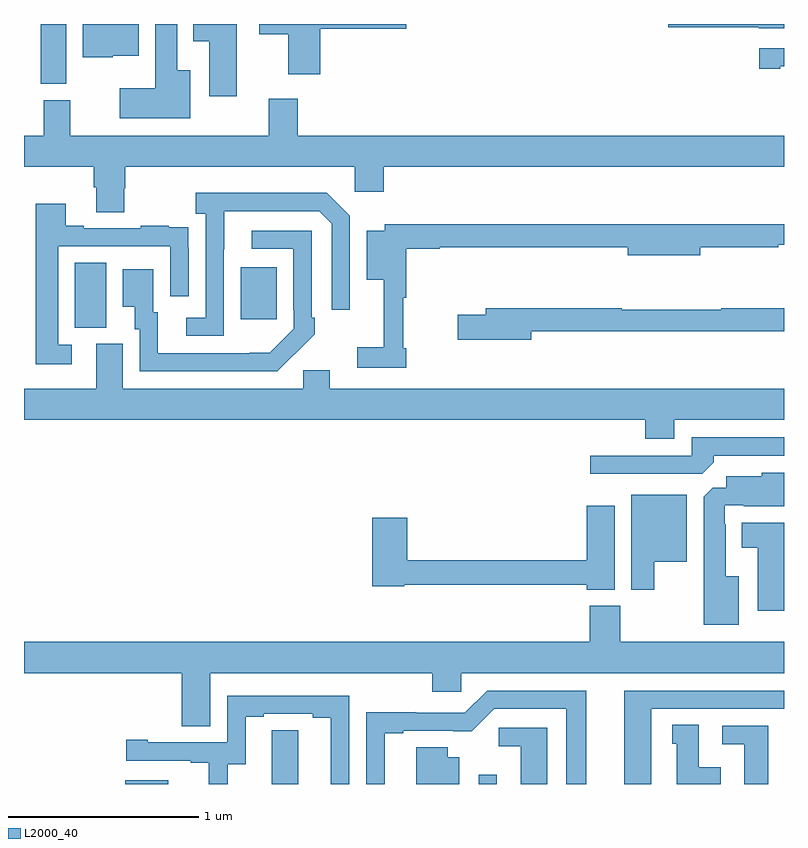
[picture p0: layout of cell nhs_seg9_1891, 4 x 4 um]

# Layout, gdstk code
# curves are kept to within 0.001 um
import gdstk
lib = gdstk.Library(unit=1e-6, precision=1e-09)
def R(c, l, rs):  # rectangles x0, y0, x1, y1
    for r in rs: c.add(gdstk.rectangle(r[:2], r[2:], *l))
def P(c, l, *ps):  # polygons
    for p in ps: c.add(gdstk.Polygon(p, *l))
L2000_40 = (2000, 40)

nhs_seg9_1891 = lib.new_cell('nhs_seg9_1891')
R(nhs_seg9_1891, L2000_40, [(217.532,1198.5,217.759,1198.519), (219.393,1198.5,219.489,1198.549), (217.268,1200.901,217.432,1201.244), (218.141,1200.945,218.329,1201.219), (217.088,1202.185,217.222,1202.5)])
P(nhs_seg9_1891, L2000_40, [(218.558,1202.474),(219.013,1202.474),(219.013,1202.5),(218.238,1202.5),(218.238,1202.446),(218.39,1202.446),(218.39,1202.235),(218.558,1202.235)],
  [(218.119,1202.5),(217.892,1202.5),(217.892,1202.408),(217.976,1202.408),(217.976,1202.121),(218.119,1202.121)],
  [(217.876,1202.257),(217.807,1202.257),(217.807,1202.5),(217.691,1202.5),(217.691,1202.161),(217.503,1202.161),(217.503,1202.003),(217.876,1202.003)],
  [(221,1202.5),(220.392,1202.5),(220.392,1202.483),(220.866,1202.483),(220.866,1202.477),(221,1202.477)],
  [(217.467,1202.333),(217.603,1202.333),(217.603,1202.5),(217.31,1202.5),(217.31,1202.324),(217.467,1202.324)],
  [(220.981,1202.277),(221,1202.277),(221,1202.373),(220.869,1202.373),(220.869,1202.265),(220.981,1202.265)],
  [(217.527,1201.635),(217.532,1201.635),(217.532,1201.748),(218.742,1201.748),(218.742,1201.617),(218.894,1201.617),(218.894,1201.748),(221,1201.748),(221,1201.912),(218.441,1201.912),(218.441,1202.107),(218.288,1202.107),(218.288,1201.912),(217.243,1201.912),(217.243,1202.1),(217.103,1202.1),(217.103,1201.912),(217,1201.912),(217,1201.748),(217.367,1201.748),(217.367,1201.642),(217.379,1201.642),(217.379,1201.51),(217.527,1201.51)],
  [(218.052,1201.315),(218.053,1201.515),(218.553,1201.515),(218.619,1201.449),(218.619,1200.996),(218.715,1200.996),(218.715,1201.491),(218.594,1201.612),(217.905,1201.612),(217.905,1201.502),(217.956,1201.502),(217.956,1200.954),(217.854,1200.954),(217.854,1200.858),(218.052,1200.858)],
  [(217.252,1200.813),(217.179,1200.813),(217.179,1201.329),(217.77,1201.329),(217.77,1201.068),(217.866,1201.068),(217.866,1201.322),(217.865,1201.322),(217.865,1201.431),(217.763,1201.431),(217.763,1201.438),(217.615,1201.438),(217.615,1201.425),(217.315,1201.425),(217.315,1201.438),(217.219,1201.438),(217.219,1201.555),(217.063,1201.555),(217.063,1200.708),(217.252,1200.708)],
  [(219.011,1200.793),(218.996,1200.793),(218.996,1201.058),(219.011,1201.058),(219.011,1201.318),(219.188,1201.318),(219.188,1201.326),(220.178,1201.326),(220.178,1201.283),(220.558,1201.283),(220.558,1201.326),(220.97,1201.326),(220.97,1201.338),(221,1201.338),(221,1201.447),(218.898,1201.447),(218.898,1201.411),(218.804,1201.411),(218.804,1201.154),(218.894,1201.154),(218.894,1200.799),(218.754,1200.799),(218.754,1200.69),(219.011,1200.69)],
  [(218.423,1200.763),(218.424,1200.762),(218.529,1200.867),(218.529,1200.955),(218.514,1200.955),(218.514,1201.413),(218.199,1201.413),(218.199,1201.317),(218.418,1201.317),(218.418,1200.997),(218.421,1200.997),(218.421,1200.897),(218.293,1200.769),(217.705,1200.768),(217.705,1200.984),(217.681,1200.984),(217.681,1201.21),(217.52,1201.21),(217.52,1201.013),(217.583,1201.013),(217.583,1200.894),(217.608,1200.894),(217.608,1200.672),(218.332,1200.672)],
  [(219.67,1200.882),(221,1200.882),(221,1201.003),(220.67,1201.003),(220.67,1200.995),(220.147,1200.995),(220.147,1201.003),(219.431,1201.003),(219.431,1200.969),(219.282,1200.969),(219.282,1200.839),(219.67,1200.839)],
  [(220.423,1200.416),(221,1200.416),(221,1200.58),(218.608,1200.58),(218.608,1200.678),(218.469,1200.678),(218.469,1200.58),(217.519,1200.58),(217.519,1200.816),(217.379,1200.816),(217.379,1200.58),(217,1200.58),(217,1200.416),(220.271,1200.416),(220.271,1200.317),(220.423,1200.317)],
  [(220.631,1200.194),(220.631,1200.228),(221,1200.228),(221,1200.324),(220.515,1200.324),(220.515,1200.228),(219.981,1200.228),(219.981,1200.132),(220.569,1200.132)],
  [(220.762,1199.593),(220.693,1199.593),(220.693,1199.867),(220.689,1199.867),(220.689,1199.967),(220.789,1199.967),(220.789,1199.963),(221,1199.963),(221,1200.139),(220.884,1200.139),(220.884,1200.121),(220.697,1200.121),(220.697,1200.06),(220.626,1200.06),(220.577,1200.011),(220.577,1199.339),(220.762,1199.339)],
  [(220.318,1199.669),(220.489,1199.669),(220.489,1200.022),(220.196,1200.022),(220.196,1199.523),(220.318,1199.523)],
  [(220.108,1199.965),(219.962,1199.965),(219.962,1199.678),(219.017,1199.678),(219.017,1199.902),(218.834,1199.902),(218.834,1199.542),(219,1199.542),(219,1199.55),(219.962,1199.55),(219.962,1199.522),(220.108,1199.522)],
  [(221,1199.875),(220.778,1199.875),(220.778,1199.744),(220.862,1199.744),(220.862,1199.412),(221,1199.412)],
  [(217.981,1199.084),(219.149,1199.084),(219.149,1198.986),(219.3,1198.986),(219.3,1199.084),(221,1199.084),(221,1199.248),(220.137,1199.248),(220.137,1199.437),(219.977,1199.437),(219.977,1199.248),(217,1199.248),(217,1199.084),(217.829,1199.084),(217.829,1198.804),(217.981,1198.804)],
  [(218.899,1198.767),(218.995,1198.767),(218.995,1198.779),(219.356,1198.778),(219.474,1198.896),(219.854,1198.896),(219.854,1198.5),(219.958,1198.5),(219.958,1198.992),(219.438,1198.992),(219.321,1198.875),(219.065,1198.875),(219.065,1198.877),(218.802,1198.877),(218.802,1198.5),(218.899,1198.5)],
  [(220.3,1198.896),(221,1198.896),(221,1198.992),(220.16,1198.992),(220.16,1198.5),(220.3,1198.5)],
  [(218.073,1198.603),(218.167,1198.603),(218.167,1198.854),(218.263,1198.854),(218.263,1198.869),(218.519,1198.869),(218.519,1198.849),(218.615,1198.849),(218.615,1198.5),(218.712,1198.5),(218.712,1198.965),(218.07,1198.965),(218.07,1198.719),(217.651,1198.719),(217.651,1198.732),(217.539,1198.732),(217.539,1198.623),(217.877,1198.623),(217.877,1198.611),(217.973,1198.611),(217.973,1198.5),(218.073,1198.5)],
  [(220.666,1198.588),(220.552,1198.588),(220.552,1198.811),(220.412,1198.811),(220.412,1198.713),(220.436,1198.713),(220.436,1198.5),(220.666,1198.5)],
  [(220.918,1198.806),(220.674,1198.806),(220.674,1198.71),(220.79,1198.71),(220.79,1198.5),(220.918,1198.5)],
  [(219.754,1198.797),(219.498,1198.797),(219.498,1198.7),(219.614,1198.7),(219.614,1198.5),(219.754,1198.5)],
  [(218.443,1198.784),(218.304,1198.784),(218.304,1198.676),(218.303,1198.676),(218.303,1198.5),(218.443,1198.5)],
  [(219.292,1198.642),(219.229,1198.642),(219.229,1198.694),(219.065,1198.694),(219.065,1198.5),(219.292,1198.5)])

lib.write_gds('nhs_seg9_1891.gds')
